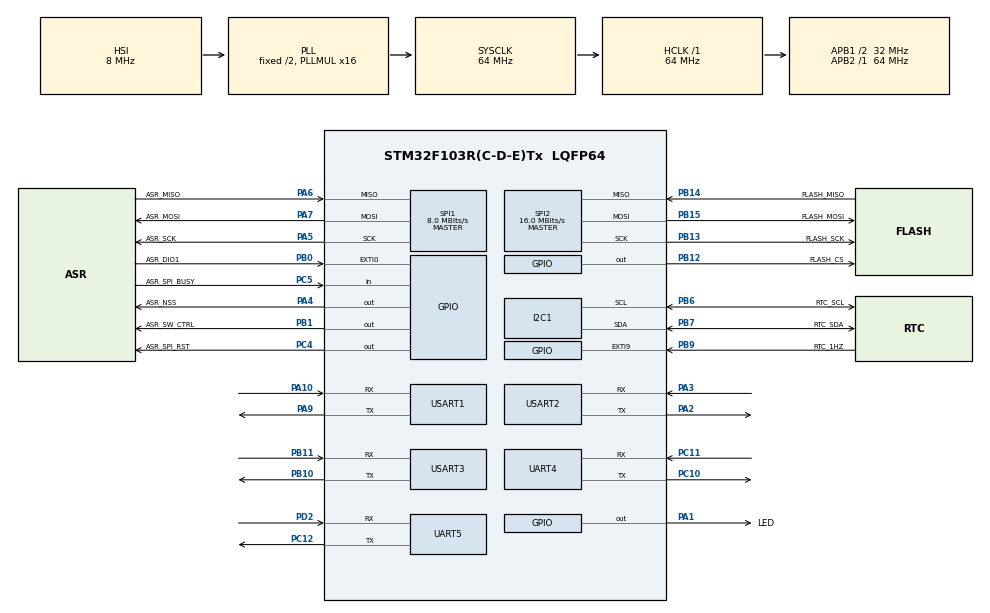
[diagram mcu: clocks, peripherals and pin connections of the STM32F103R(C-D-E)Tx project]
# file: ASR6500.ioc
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Dma.Request0=USART2_RX
Dma.Request1=USART1_RX
Dma.Request2=USART3_RX
Dma.Request3=UART4_RX
Dma.UART4_RX.3.Direction=DMA_PERIPH_TO_MEMORY
Dma.UART4_RX.3.Instance=DMA2_Channel3
Dma.UART4_RX.3.MemDataAlignment=DMA_MDATAALIGN_BYTE
Dma.UART4_RX.3.MemInc=DMA_MINC_ENABLE
Dma.UART4_RX.3.Mode=DMA_NORMAL
Dma.UART4_RX.3.PeriphDataAlignment=DMA_PDATAALIGN_BYTE
Dma.UART4_RX.3.PeriphInc=DMA_PINC_DISABLE
Dma.UART4_RX.3.Priority=DMA_PRIORITY_LOW
Dma.USART1_RX.1.Direction=DMA_PERIPH_TO_MEMORY
Dma.USART1_RX.1.Instance=DMA1_Channel5
Dma.USART1_RX.1.MemDataAlignment=DMA_MDATAALIGN_BYTE
Dma.USART1_RX.1.MemInc=DMA_MINC_ENABLE
Dma.USART1_RX.1.Mode=DMA_NORMAL
Dma.USART1_RX.1.PeriphDataAlignment=DMA_PDATAALIGN_BYTE
Dma.USART1_RX.1.PeriphInc=DMA_PINC_DISABLE
Dma.USART1_RX.1.Priority=DMA_PRIORITY_LOW
Dma.USART2_RX.0.Direction=DMA_PERIPH_TO_MEMORY
Dma.USART2_RX.0.Instance=DMA1_Channel6
Dma.USART2_RX.0.MemDataAlignment=DMA_MDATAALIGN_BYTE
Dma.USART2_RX.0.MemInc=DMA_MINC_ENABLE
Dma.USART2_RX.0.Mode=DMA_NORMAL
Dma.USART2_RX.0.PeriphDataAlignment=DMA_PDATAALIGN_BYTE
Dma.USART2_RX.0.PeriphInc=DMA_PINC_DISABLE
Dma.USART2_RX.0.Priority=DMA_PRIORITY_LOW
Dma.USART3_RX.2.Direction=DMA_PERIPH_TO_MEMORY
Dma.USART3_RX.2.Instance=DMA1_Channel3
Dma.USART3_RX.2.MemDataAlignment=DMA_MDATAALIGN_BYTE
Dma.USART3_RX.2.MemInc=DMA_MINC_ENABLE
Dma.USART3_RX.2.Mode=DMA_NORMAL
Dma.USART3_RX.2.PeriphDataAlignment=DMA_PDATAALIGN_BYTE
Dma.USART3_RX.2.PeriphInc=DMA_PINC_DISABLE
Dma.USART3_RX.2.Priority=DMA_PRIORITY_LOW
Mcu.Family=STM32F1
Mcu.Name=STM32F103R(C-D-E)Tx
Mcu.Package=LQFP64
NVIC.DMA1_Channel3_IRQn=true\:0\:0\:false\:false\:true\:false\:true\:true
NVIC.DMA1_Channel5_IRQn=true\:0\:0\:false\:false\:true\:false\:true\:true
NVIC.DMA1_Channel6_IRQn=true\:0\:0\:false\:false\:true\:false\:true\:true
NVIC.DMA2_Channel3_IRQn=true\:0\:0\:false\:false\:true\:false\:true\:true
NVIC.EXTI0_IRQn=true\:0\:0\:false\:false\:true\:true\:true\:true
NVIC.EXTI9_5_IRQn=true\:0\:0\:false\:false\:true\:true\:true\:true
NVIC.PriorityGroup=NVIC_PRIORITYGROUP_4
NVIC.UART4_IRQn=true\:0\:0\:false\:false\:true\:true\:true\:true
NVIC.UART5_IRQn=true\:0\:0\:false\:false\:true\:true\:true\:true
NVIC.USART1_IRQn=true\:0\:0\:false\:false\:true\:true\:true\:true
NVIC.USART2_IRQn=true\:0\:0\:false\:false\:true\:true\:true\:true
NVIC.USART3_IRQn=true\:0\:0\:false\:false\:true\:true\:true\:true
PA1.GPIO_Label=LED
PA1.Signal=GPIO_Output
PA10.Mode=Asynchronous
PA10.Signal=USART1_RX
PA13.Mode=Serial_Wire
PA13.Signal=SYS_JTMS-SWDIO
PA14.Mode=Serial_Wire
PA14.Signal=SYS_JTCK-SWCLK
PA2.Mode=Asynchronous
PA2.Signal=USART2_TX
PA3.Mode=Asynchronous
PA3.Signal=USART2_RX
PA4.GPIO_Label=ASR_NSS
PA4.Signal=GPIO_Output
PA5.GPIO_Label=ASR_SCK
PA5.Mode=Full_Duplex_Master
PA5.Signal=SPI1_SCK
PA6.GPIO_Label=ASR_MISO
PA6.Mode=Full_Duplex_Master
PA6.Signal=SPI1_MISO
PA7.GPIO_Label=ASR_MOSI
PA7.Mode=Full_Duplex_Master
PA7.Signal=SPI1_MOSI
PA9.Mode=Asynchronous
PA9.Signal=USART1_TX
PB0.GPIO_Label=ASR_DIO1
PB0.Signal=GPXTI0
PB1.GPIO_Label=ASR_SW_CTRL
PB1.Signal=GPIO_Output
PB10.Mode=Asynchronous
PB10.Signal=USART3_TX
PB11.Mode=Asynchronous
PB11.Signal=USART3_RX
PB12.GPIO_Label=FLASH_CS
PB12.Signal=GPIO_Output
PB13.GPIO_Label=FLASH_SCK
PB13.Mode=Full_Duplex_Master
PB13.Signal=SPI2_SCK
PB14.GPIO_Label=FLASH_MISO
PB14.Mode=Full_Duplex_Master
PB14.Signal=SPI2_MISO
PB15.GPIO_Label=FLASH_MOSI
PB15.Mode=Full_Duplex_Master
PB15.Signal=SPI2_MOSI
PB6.GPIO_Label=RTC_SCL
PB6.Mode=I2C
PB6.Signal=I2C1_SCL
PB7.GPIO_Label=RTC_SDA
PB7.Mode=I2C
PB7.Signal=I2C1_SDA
PB9.GPIO_Label=RTC_1HZ
PB9.Signal=GPXTI9
PC10.Mode=Asynchronous
PC10.Signal=UART4_TX
PC11.Mode=Asynchronous
PC11.Signal=UART4_RX
PC12.Mode=Asynchronous
PC12.Signal=UART5_TX
PC4.GPIO_Label=ASR_SPI_RST
PC4.Signal=GPIO_Output
PC5.GPIO_Label=ASR_SPI_BUSY
PC5.Signal=GPIO_Input
PD2.Mode=Asynchronous
PD2.Signal=UART5_RX
ProjectManager.HeapSize=0x200
ProjectManager.StackSize=0x400
ProjectManager.TargetToolchain=MDK-ARM V5
RCC.AHBFreq_Value=64000000
RCC.APB1CLKDivider=RCC_HCLK_DIV2
RCC.APB1Freq_Value=32000000
RCC.APB1TimFreq_Value=64000000
RCC.APB2Freq_Value=64000000
RCC.APB2TimFreq_Value=64000000
RCC.HCLKFreq_Value=64000000
RCC.PLLMUL=RCC_PLL_MUL16
RCC.SYSCLKFreq_VALUE=64000000
RCC.SYSCLKSource=RCC_SYSCLKSOURCE_PLLCLK
RCC.USBFreq_Value=64000000
SPI1.BaudRatePrescaler=SPI_BAUDRATEPRESCALER_8
SPI1.CalculateBaudRate=8.0 MBits/s
SPI1.Direction=SPI_DIRECTION_2LINES
SPI1.Mode=SPI_MODE_MASTER
SPI1.VirtualType=VM_MASTER
SPI2.CalculateBaudRate=16.0 MBits/s
SPI2.Direction=SPI_DIRECTION_2LINES
SPI2.Mode=SPI_MODE_MASTER
SPI2.VirtualType=VM_MASTER
TIM5.Period=65535
TIM5.Prescaler=63
UART4.VirtualMode=Asynchronous
UART5.VirtualMode=Asynchronous
USART1.VirtualMode=VM_ASYNC
USART2.VirtualMode=VM_ASYNC
USART3.VirtualMode=VM_ASYNC
VP_TIM5_VS_ClockSourceINT.Mode=Internal
board=custom

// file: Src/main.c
/* USER CODE BEGIN Header */
/**
  ******************************************************************************
  * @file           : main.c
  * @brief          : Main program body
  ******************************************************************************
  * @attention
  *
  * <h2><center>&copy; Copyright (c) 2020 STMicroelectronics.
  * All rights reserved.</center></h2>
  *
  * This software component is licensed by ST under BSD 3-Clause license,
  * the "License"; You may not use this file except in compliance with the
  * License. You may obtain a copy of the License at:
  *                        opensource.org/licenses/BSD-3-Clause
  *
  ******************************************************************************
  */
/* USER CODE END Header */

#include "main.h"

/* USER CODE BEGIN Includes */

#include "vMsgExec.h"
#include "dyn_mem.h"
#ifdef NODE_MAINCONTROL
#include "applora.h"
#endif
#ifdef NODE_READERAUXI
#include "appfsk.h"
#endif

#ifdef NODE_CARD
#include "appter.h"
#endif

/* USER CODE END Includes */

I2C_HandleTypeDef hi2c1;

SPI_HandleTypeDef hspi1;
SPI_HandleTypeDef hspi2;

TIM_HandleTypeDef htim5;

UART_HandleTypeDef huart4;
UART_HandleTypeDef huart5;
UART_HandleTypeDef huart1;
UART_HandleTypeDef huart2;
UART_HandleTypeDef huart3;
DMA_HandleTypeDef hdma_uart4_rx;
DMA_HandleTypeDef hdma_usart1_rx;
DMA_HandleTypeDef hdma_usart2_rx;
DMA_HandleTypeDef hdma_usart3_rx;

/* USER CODE BEGIN PV */
uint32_t HAL_GetTick(void)
{
  return os_time;
}
/* USER CODE END PV */

void SystemClock_Config(void);
static void MX_GPIO_Init(void);
static void MX_DMA_Init(void);
static void MX_SPI1_Init(void);
static void MX_SPI2_Init(void);
static void MX_UART4_Init(void);
static void MX_UART5_Init(void);
static void MX_USART1_UART_Init(void);
static void MX_USART2_UART_Init(void);
static void MX_I2C1_Init(void);
static void MX_USART3_UART_Init(void);
static void MX_TIM5_Init(void);

int main(void)
{

  /* MCU Configuration--------------------------------------------------------*/

  /* Reset of all peripherals, Initializes the Flash interface and the Systick. */

	HAL_Init();

  /* USER CODE BEGIN Init */
  osKernelInitialize ();

  /* USER CODE END Init */

  /* Configure the system clock */
  SystemClock_Config();

  /* Initialize all configured peripherals */
  MX_GPIO_Init();
  MX_DMA_Init();
  MX_SPI1_Init();
  MX_SPI2_Init();
  MX_UART4_Init();
  MX_UART5_Init();
  MX_USART1_UART_Init();
  MX_USART2_UART_Init();
  MX_I2C1_Init();
  MX_USART3_UART_Init();
  MX_TIM5_Init();
  /* USER CODE BEGIN 2 */
  HAL_GPIO_WritePin(LED_GPIO_Port, LED_Pin, GPIO_PIN_RESET);
  HAL_Delay(500);
  HAL_GPIO_WritePin(LED_GPIO_Port, LED_Pin, GPIO_PIN_SET);
  //初始化动态内存管理
	dm_init();
//	W25QXX_Init();

	//初始化消息引擎
	MsgExec_Init();

	//初始化定时器消息引擎
	VWM_TimerInit();
#ifdef NODE_MAINCONTROL
	TAppCreate(&huart4, &huart2);
#endif
#ifdef NODE_READERAUXI
	TAppCreate(&huart3, &huart1);
#endif

#ifdef NODE_CARD
	TAppCreate(&huart2);
#endif

	osKernelStart();

  /* USER CODE END 2 */

  /* Infinite loop */
  while (1)
  {

    /* USER CODE BEGIN 3 */
	MsgExec_Exec();
    //RadioTest();
  }
  /* USER CODE END 3 */
}

void SystemClock_Config(void)
{
  RCC_OscInitTypeDef RCC_OscInitStruct = {0};
  RCC_ClkInitTypeDef RCC_ClkInitStruct = {0};

  /** Initializes the CPU, AHB and APB busses clocks
  */
  RCC_OscInitStruct.OscillatorType = RCC_OSCILLATORTYPE_HSI;
  RCC_OscInitStruct.HSIState = RCC_HSI_ON;
  RCC_OscInitStruct.HSICalibrationValue = RCC_HSICALIBRATION_DEFAULT;
  RCC_OscInitStruct.PLL.PLLState = RCC_PLL_ON;
  RCC_OscInitStruct.PLL.PLLSource = RCC_PLLSOURCE_HSI_DIV2;
  RCC_OscInitStruct.PLL.PLLMUL = RCC_PLL_MUL16;
  if (HAL_RCC_OscConfig(&RCC_OscInitStruct) != HAL_OK)
  {
    Error_Handler();
  }
  /** Initializes the CPU, AHB and APB busses clocks
  */
  RCC_ClkInitStruct.ClockType = RCC_CLOCKTYPE_HCLK|RCC_CLOCKTYPE_SYSCLK
                              |RCC_CLOCKTYPE_PCLK1|RCC_CLOCKTYPE_PCLK2;
  RCC_ClkInitStruct.SYSCLKSource = RCC_SYSCLKSOURCE_PLLCLK;
  RCC_ClkInitStruct.AHBCLKDivider = RCC_SYSCLK_DIV1;
  RCC_ClkInitStruct.APB1CLKDivider = RCC_HCLK_DIV2;
  RCC_ClkInitStruct.APB2CLKDivider = RCC_HCLK_DIV1;

  if (HAL_RCC_ClockConfig(&RCC_ClkInitStruct, FLASH_LATENCY_2) != HAL_OK)
  {
    Error_Handler();
  }
}

static void MX_I2C1_Init(void)
{

  hi2c1.Instance = I2C1;
  hi2c1.Init.ClockSpeed = 100000;
  hi2c1.Init.DutyCycle = I2C_DUTYCYCLE_2;
  hi2c1.Init.OwnAddress1 = 0;
  hi2c1.Init.AddressingMode = I2C_ADDRESSINGMODE_7BIT;
  hi2c1.Init.DualAddressMode = I2C_DUALADDRESS_DISABLE;
  hi2c1.Init.OwnAddress2 = 0;
  hi2c1.Init.GeneralCallMode = I2C_GENERALCALL_DISABLE;
  hi2c1.Init.NoStretchMode = I2C_NOSTRETCH_DISABLE;
  if (HAL_I2C_Init(&hi2c1) != HAL_OK)
  {
    Error_Handler();
  }

}

static void MX_SPI1_Init(void)
{

  /* SPI1 parameter configuration*/
  hspi1.Instance = SPI1;
  hspi1.Init.Mode = SPI_MODE_MASTER;
  hspi1.Init.Direction = SPI_DIRECTION_2LINES;
  hspi1.Init.DataSize = SPI_DATASIZE_8BIT;
  hspi1.Init.CLKPolarity = SPI_POLARITY_LOW;
  hspi1.Init.CLKPhase = SPI_PHASE_1EDGE;
  hspi1.Init.NSS = SPI_NSS_SOFT;
  hspi1.Init.BaudRatePrescaler = SPI_BAUDRATEPRESCALER_8;
  hspi1.Init.FirstBit = SPI_FIRSTBIT_MSB;
  hspi1.Init.TIMode = SPI_TIMODE_DISABLE;
  hspi1.Init.CRCCalculation = SPI_CRCCALCULATION_DISABLE;
  hspi1.Init.CRCPolynomial = 10;
  if (HAL_SPI_Init(&hspi1) != HAL_OK)
  {
    Error_Handler();
  }

}

static void MX_SPI2_Init(void)
{

  /* SPI2 parameter configuration*/
  hspi2.Instance = SPI2;
  hspi2.Init.Mode = SPI_MODE_MASTER;
  hspi2.Init.Direction = SPI_DIRECTION_2LINES;
  hspi2.Init.DataSize = SPI_DATASIZE_8BIT;
  hspi2.Init.CLKPolarity = SPI_POLARITY_LOW;
  hspi2.Init.CLKPhase = SPI_PHASE_1EDGE;
  hspi2.Init.NSS = SPI_NSS_SOFT;
  hspi2.Init.BaudRatePrescaler = SPI_BAUDRATEPRESCALER_2;
  hspi2.Init.FirstBit = SPI_FIRSTBIT_MSB;
  hspi2.Init.TIMode = SPI_TIMODE_DISABLE;
  hspi2.Init.CRCCalculation = SPI_CRCCALCULATION_DISABLE;
  hspi2.Init.CRCPolynomial = 10;
  if (HAL_SPI_Init(&hspi2) != HAL_OK)
  {
    Error_Handler();
  }

}

static void MX_TIM5_Init(void)
{

  TIM_ClockConfigTypeDef sClockSourceConfig = {0};
  TIM_MasterConfigTypeDef sMasterConfig = {0};

  htim5.Instance = TIM5;
  htim5.Init.Prescaler = 63;
  htim5.Init.CounterMode = TIM_COUNTERMODE_UP;
  htim5.Init.Period = 65535;
  htim5.Init.ClockDivision = TIM_CLOCKDIVISION_DIV1;
  htim5.Init.AutoReloadPreload = TIM_AUTORELOAD_PRELOAD_DISABLE;
  if (HAL_TIM_Base_Init(&htim5) != HAL_OK)
  {
    Error_Handler();
  }
  sClockSourceConfig.ClockSource = TIM_CLOCKSOURCE_INTERNAL;
  if (HAL_TIM_ConfigClockSource(&htim5, &sClockSourceConfig) != HAL_OK)
  {
    Error_Handler();
  }
  sMasterConfig.MasterOutputTrigger = TIM_TRGO_RESET;
  sMasterConfig.MasterSlaveMode = TIM_MASTERSLAVEMODE_DISABLE;
  if (HAL_TIMEx_MasterConfigSynchronization(&htim5, &sMasterConfig) != HAL_OK)
  {
    Error_Handler();
  }

}

static void MX_UART4_Init(void)
{

  huart4.Instance = UART4;
  huart4.Init.BaudRate = 115200;
  huart4.Init.WordLength = UART_WORDLENGTH_8B;
  huart4.Init.StopBits = UART_STOPBITS_1;
  huart4.Init.Parity = UART_PARITY_NONE;
  huart4.Init.Mode = UART_MODE_TX_RX;
  huart4.Init.HwFlowCtl = UART_HWCONTROL_NONE;
  huart4.Init.OverSampling = UART_OVERSAMPLING_16;
  if (HAL_UART_Init(&huart4) != HAL_OK)
  {
    Error_Handler();
  }

}

static void MX_UART5_Init(void)
{

  huart5.Instance = UART5;
  huart5.Init.BaudRate = 115200;
  huart5.Init.WordLength = UART_WORDLENGTH_8B;
  huart5.Init.StopBits = UART_STOPBITS_1;
  huart5.Init.Parity = UART_PARITY_NONE;
  huart5.Init.Mode = UART_MODE_TX_RX;
  huart5.Init.HwFlowCtl = UART_HWCONTROL_NONE;
  huart5.Init.OverSampling = UART_OVERSAMPLING_16;
  if (HAL_UART_Init(&huart5) != HAL_OK)
  {
    Error_Handler();
  }

}

static void MX_USART1_UART_Init(void)
{

  huart1.Instance = USART1;
  huart1.Init.BaudRate = 115200;
  huart1.Init.WordLength = UART_WORDLENGTH_8B;
  huart1.Init.StopBits = UART_STOPBITS_1;
  huart1.Init.Parity = UART_PARITY_NONE;
  huart1.Init.Mode = UART_MODE_TX_RX;
  huart1.Init.HwFlowCtl = UART_HWCONTROL_NONE;
  huart1.Init.OverSampling = UART_OVERSAMPLING_16;
  if (HAL_UART_Init(&huart1) != HAL_OK)
  {
    Error_Handler();
  }

}

static void MX_USART2_UART_Init(void)
{

  huart2.Instance = USART2;
  huart2.Init.BaudRate = 115200;
  huart2.Init.WordLength = UART_WORDLENGTH_8B;
  huart2.Init.StopBits = UART_STOPBITS_1;
  huart2.Init.Parity = UART_PARITY_NONE;
  huart2.Init.Mode = UART_MODE_TX_RX;
  huart2.Init.HwFlowCtl = UART_HWCONTROL_NONE;
  huart2.Init.OverSampling = UART_OVERSAMPLING_16;
  if (HAL_UART_Init(&huart2) != HAL_OK)
  {
    Error_Handler();
  }

}

static void MX_USART3_UART_Init(void)
{

  huart3.Instance = USART3;
  huart3.Init.BaudRate = 115200;
  huart3.Init.WordLength = UART_WORDLENGTH_8B;
  huart3.Init.StopBits = UART_STOPBITS_1;
  huart3.Init.Parity = UART_PARITY_NONE;
  huart3.Init.Mode = UART_MODE_TX_RX;
  huart3.Init.HwFlowCtl = UART_HWCONTROL_NONE;
  huart3.Init.OverSampling = UART_OVERSAMPLING_16;
  if (HAL_UART_Init(&huart3) != HAL_OK)
  {
    Error_Handler();
  }

}

static void MX_DMA_Init(void)
{

  /* DMA controller clock enable */
  __HAL_RCC_DMA1_CLK_ENABLE();
  __HAL_RCC_DMA2_CLK_ENABLE();

  /* DMA interrupt init */
  /* DMA1_Channel3_IRQn interrupt configuration */
  HAL_NVIC_SetPriority(DMA1_Channel3_IRQn, 0, 0);
  HAL_NVIC_EnableIRQ(DMA1_Channel3_IRQn);
  /* DMA1_Channel5_IRQn interrupt configuration */
  HAL_NVIC_SetPriority(DMA1_Channel5_IRQn, 0, 0);
  HAL_NVIC_EnableIRQ(DMA1_Channel5_IRQn);
  /* DMA1_Channel6_IRQn interrupt configuration */
  HAL_NVIC_SetPriority(DMA1_Channel6_IRQn, 0, 0);
  HAL_NVIC_EnableIRQ(DMA1_Channel6_IRQn);
  /* DMA2_Channel3_IRQn interrupt configuration */
  HAL_NVIC_SetPriority(DMA2_Channel3_IRQn, 0, 0);
  HAL_NVIC_EnableIRQ(DMA2_Channel3_IRQn);

}

static void MX_GPIO_Init(void)
{
  GPIO_InitTypeDef GPIO_InitStruct = {0};

  /* GPIO Ports Clock Enable */
  __HAL_RCC_GPIOA_CLK_ENABLE();
  __HAL_RCC_GPIOC_CLK_ENABLE();
  __HAL_RCC_GPIOB_CLK_ENABLE();
  __HAL_RCC_GPIOD_CLK_ENABLE();

  /*Configure GPIO pin Output Level */
  HAL_GPIO_WritePin(GPIOA, LED_Pin|ASR_NSS_Pin, GPIO_PIN_RESET);

  /*Configure GPIO pin Output Level */
  HAL_GPIO_WritePin(ASR_SPI_RST_GPIO_Port, ASR_SPI_RST_Pin, GPIO_PIN_RESET);

  /*Configure GPIO pin Output Level */
  HAL_GPIO_WritePin(GPIOB, ASR_SW_CTRL_Pin|FLASH_CS_Pin, GPIO_PIN_RESET);

  /*Configure GPIO pins : LED_Pin ASR_NSS_Pin */
  GPIO_InitStruct.Pin = LED_Pin|ASR_NSS_Pin;
  GPIO_InitStruct.Mode = GPIO_MODE_OUTPUT_PP;
  GPIO_InitStruct.Pull = GPIO_NOPULL;
  GPIO_InitStruct.Speed = GPIO_SPEED_FREQ_LOW;
  HAL_GPIO_Init(GPIOA, &GPIO_InitStruct);

  /*Configure GPIO pin : ASR_SPI_RST_Pin */
  GPIO_InitStruct.Pin = ASR_SPI_RST_Pin;
  GPIO_InitStruct.Mode = GPIO_MODE_OUTPUT_PP;
  GPIO_InitStruct.Pull = GPIO_NOPULL;
  GPIO_InitStruct.Speed = GPIO_SPEED_FREQ_LOW;
  HAL_GPIO_Init(ASR_SPI_RST_GPIO_Port, &GPIO_InitStruct);

  /*Configure GPIO pin : ASR_SPI_BUSY_Pin */
  GPIO_InitStruct.Pin = ASR_SPI_BUSY_Pin;
  GPIO_InitStruct.Mode = GPIO_MODE_INPUT;
  GPIO_InitStruct.Pull = GPIO_NOPULL;
  HAL_GPIO_Init(ASR_SPI_BUSY_GPIO_Port, &GPIO_InitStruct);

  /*Configure GPIO pins : ASR_DIO1_Pin RTC_1HZ_Pin */
  GPIO_InitStruct.Pin = ASR_DIO1_Pin|RTC_1HZ_Pin;
  GPIO_InitStruct.Mode = GPIO_MODE_IT_RISING;
  GPIO_InitStruct.Pull = GPIO_NOPULL;
  HAL_GPIO_Init(GPIOB, &GPIO_InitStruct);

  /*Configure GPIO pins : ASR_SW_CTRL_Pin FLASH_CS_Pin */
  GPIO_InitStruct.Pin = ASR_SW_CTRL_Pin|FLASH_CS_Pin;
  GPIO_InitStruct.Mode = GPIO_MODE_OUTPUT_PP;
  GPIO_InitStruct.Pull = GPIO_NOPULL;
  GPIO_InitStruct.Speed = GPIO_SPEED_FREQ_LOW;
  HAL_GPIO_Init(GPIOB, &GPIO_InitStruct);

  /* EXTI interrupt init*/
  HAL_NVIC_SetPriority(EXTI0_IRQn, 0, 0);
  HAL_NVIC_EnableIRQ(EXTI0_IRQn);

  HAL_NVIC_SetPriority(EXTI9_5_IRQn, 0, 0);
  HAL_NVIC_EnableIRQ(EXTI9_5_IRQn);

}

void Error_Handler(void)
{
}

/************************ (C) COPYRIGHT STMicroelectronics *****END OF FILE****/
